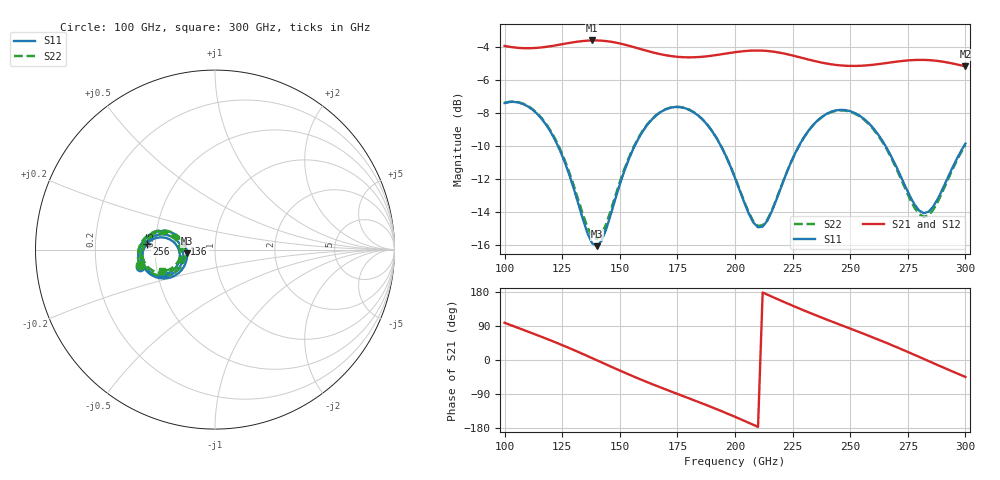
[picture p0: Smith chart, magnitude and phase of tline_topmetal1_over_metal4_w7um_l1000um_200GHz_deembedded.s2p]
! Created with skrf 2.0.1 (http://scikit-rf.org).
# GHz S DB R 50.0
!freq dBS11 angS11 dBS21 angS21 dBS12 angS12 dBS22 angS22
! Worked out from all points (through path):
!   101 points, 100 GHz to 300 GHz, reference 50 ohm
!   highest |S21| = -3.59 dB at 138 GHz (marker M1); lowest = -5.2 dB at 300 GHz (marker M2)
!   group delay of S21, straight-line fit = 6.99 ps
!   lowest |S11| = -16.1 dB at 140 GHz (marker M3), VSWR 1.37, Z = 36.5 - j1.46 ohm
!   |S11| at or under -10 dB: 123.2 GHz to 156.4 GHz (33.29 GHz wide, 23.8 % of centre); 193.9 GHz to 227.7 GHz (33.82 GHz wide, 16 % of centre); 265.4 GHz to 299.4 GHz (34.04 GHz wide, 12.1 % of centre)
!   |S22| runs from -15.7 to -7.3 dB; largest |S21 - S12| = 7.5e-14
!   S11 on the Smith chart (normalised r, x): 100 GHz: 0.41, -0.09; 136 GHz: 0.71, +0.04; 256 GHz: 0.45, +0.03; 300 GHz: 0.53, -0.16
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100  -7.39 -167.2  -3.92 98.3  -3.92 98.3  -7.37 -168.1
108  -7.45 -179.6  -4.05 79.8  -4.05 79.8  -7.42 179.6
118  -8.70 166.4  -3.98 56.5  -3.98 56.5  -8.65 165.8
134  -14.45 164.4  -3.62 15.8  -3.62 15.8  -14.16 164.0
136  -15.31 170.2  -3.60 10.4  -3.60 10.4  -14.95 169.4
138  -15.91 178.0  -3.59 4.9  -3.59 4.9  -15.50 176.7
140  -16.08 -172.8  -3.59 -0.6  -3.59 -0.6  -15.66 -174.8
146  -14.19 -151.6  -3.66 -17.0  -3.66 -17.0  -13.94 -154.9
154  -10.77 -147.8  -3.91 -38.4  -3.91 -38.4  -10.68 -151.0
168  -7.91 -163.5  -4.43 -73.1  -4.43 -73.1  -7.89 -166.4
184  -8.14 174.7  -4.60 -110.5  -4.60 -110.5  -8.13 172.0
200  -11.93 163.3  -4.30 -149.9  -4.30 -149.9  -11.90 160.7
208  -14.65 177.0  -4.20 -171.2  -4.20 -171.2  -14.57 174.1
212  -14.90 -169.3  -4.21 178.0  -4.21 178.0  -14.81 -172.5
222  -11.77 -150.6  -4.40 151.2  -4.40 151.2  -11.75 -154.1
234  -8.71 -157.8  -4.82 120.7  -4.82 120.7  -8.72 -161.4
244  -7.83 -169.9  -5.08 96.9  -5.08 96.9  -7.86 -173.6
256  -8.35 175.6  -5.11 68.8  -5.11 68.8  -8.40 171.7
268  -10.68 166.7  -4.91 39.4  -4.91 39.4  -10.77 162.5
282  -14.08 -174.0  -4.77 2.7  -4.77 2.7  -14.30 -177.7
290  -12.64 -156.4  -4.87 -18.7  -4.87 -18.7  -12.80 -159.6
300  -9.86 -154.7  -5.16 -44.6  -5.16 -44.6  -9.94 -158.1
